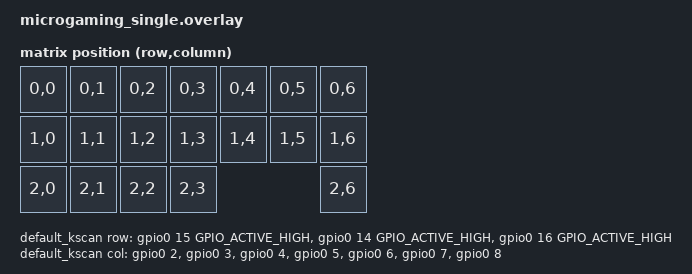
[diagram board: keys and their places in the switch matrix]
#include <dt-bindings/zmk/matrix_transform.h>

/ {
    chosen {
        zmk,kscan = &default_kscan;
        zmk,matrix_transform = &matrix_transform;
    };

    default_kscan: kscan {
        compatible = "zmk,kscan-gpio-matrix";
        label = "default_kscan";
        diode-direction = "col2row";

        row-gpios = <&gpio0 15 GPIO_ACTIVE_HIGH GPIO_PULL_DOWN>,
                    <&gpio0 14 GPIO_ACTIVE_HIGH GPIO_PULL_DOWN>,
                    <&gpio0 16 GPIO_ACTIVE_HIGH GPIO_PULL_DOWN>;

        col-gpios = <&gpio0 2 GPIO_ACTIVE_HIGH>,
                    <&gpio0 3 GPIO_ACTIVE_HIGH>,
                    <&gpio0 4 GPIO_ACTIVE_HIGH>,
                    <&gpio0 5 GPIO_ACTIVE_HIGH>,
                    <&gpio0 6 GPIO_ACTIVE_HIGH>,
                    <&gpio0 7 GPIO_ACTIVE_HIGH>,
                    <&gpio0 8 GPIO_ACTIVE_HIGH>;
    };

    matrix_transform: matrix_transform {
        compatible = "zmk,matrix_transform";
        rows = <3>;
        columns = <7>;

        map = <
            RC(0,0) RC(0,1) RC(0,2) RC(0,3) RC(0,4) RC(0,5) RC(0,6)
            RC(1,0) RC(1,1) RC(1,2) RC(1,3) RC(1,4) RC(1,5) RC(1,6)
            RC(2,0) RC(2,1) RC(2,2) RC(2,3)                 RC(2,6)
        >;
    };
};
